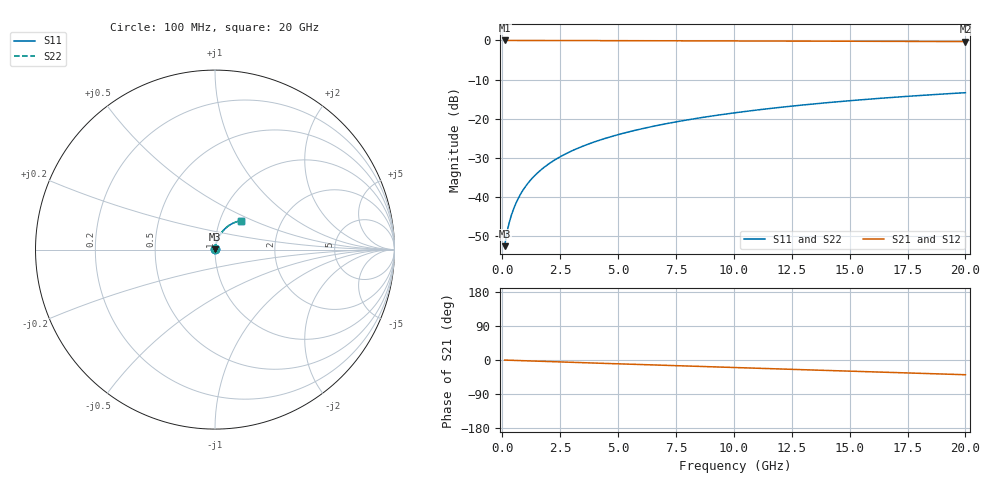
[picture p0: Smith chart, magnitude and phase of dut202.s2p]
! Touchstone file exported from HFSS 2026.1.0
!  File:  C:/ffzhzh/LocalFiles/Ansys_Project_Files/temp_train_TMRDL_202_1782983996_45328.aedt
!  Generated:  05:21:08 PM Jul  2, 2026
!  Design:  TMRDL
!  Project:  temp_train_TMRDL_202_1782983996_45328
! Variables:
!  h_bsmrdl = 2um
!  h_ox = 20um
!  h_rdl = 5um
!  h_sub = 80um
!  h_tmrdl = 5.84um
!  h_tsv = 80um
!  h_via = 3um
!  l_bsmrdl = 300um
!  l_sub = 1045.55um
!  l_tmrdl = 645.55um
!  m_sub = 200um
!  pitch = 41.22um
!  r_tsv = 6um
!  s_tmrdl = 10um
!  w_bsmrdl = 18um
!  w_sub = 500um
!  w_tmrdl = 25.95um
!  x_tsv_center1 = 658.525um
!  x_tsv_center2 = 976.525um
!  x_tsv_center3 = 1648.025um
!  x_tsv_center4 = 1966.025um
!  x_tsv_center5 = 2637.525um
!  x_tsv_center6 = 2955.525um
# GHz S MA R 50.000000
! Terminal data exported
! Port[1] = TM_RDL1_1_T1
! Port[2] = TM_RDL1_1_T2
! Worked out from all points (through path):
!   200 points, 100 MHz to 20 GHz, reference 50 ohm
!   highest |S21| = -0.02 dB at 100 MHz (marker M1); lowest = -0.3 dB at 20 GHz (marker M2)
!   group delay of S21, straight-line fit = 5.39 ps
!   lowest |S11| = -52.6 dB at 100 MHz (marker M3), VSWR 1.00, Z = 50.2 + j0.158 ohm
!   |S11| at or under -10 dB: start of sweep to end of sweep
!   |S22| runs from -52.6 to -13.4 dB; largest |S21 - S12| = 4.3e-15
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0.1  0.002358 42.1  0.9983 -0.2  0.9983 -0.2  0.002358 42.1
! Gamma 0 0 0 0
! Port Impedance 50 0 50 0
0.2  0.003536 56.3  0.9981 -0.4  0.9981 -0.4  0.003536 56.3
0.3  0.004728 63.6  0.9979 -0.6  0.9979 -0.6  0.004728 63.6
0.4  0.005946 68.1  0.9979 -0.8  0.9979 -0.8  0.005946 68.1
0.5  0.007192 71.2  0.9978 -1.0  0.9978 -1.0  0.007192 71.2
0.6  0.008457 73.4  0.9977 -1.2  0.9977 -1.2  0.008457 73.4
0.8  0.01102 76.0  0.9976 -1.7  0.9976 -1.7  0.01102 76.0
1.1  0.0149 77.9  0.9974 -2.3  0.9974 -2.3  0.0149 77.9
1.3  0.01748 78.5  0.9972 -2.7  0.9972 -2.7  0.01748 78.5
1.5  0.02005 78.8  0.997 -3.1  0.997 -3.1  0.02005 78.8
1.8  0.02388 78.9  0.9966 -3.7  0.9966 -3.7  0.02388 78.9
2.1  0.02767 78.8  0.9963 -4.3  0.9963 -4.3  0.02768 78.8
2.7  0.03514 78.2  0.9955 -5.5  0.9955 -5.5  0.03514 78.2
3.5  0.04486 77.1  0.9944 -7.1  0.9944 -7.1  0.04486 77.0
4.2  0.05319 76.0  0.9935 -8.5  0.9935 -8.5  0.05319 76.0
5  0.06257 74.7  0.9924 -10.1  0.9924 -10.1  0.06257 74.7
6.8  0.08321 71.8  0.9898 -13.6  0.9898 -13.6  0.08322 71.7
8.3  0.1 69.2  0.9875 -16.5  0.9875 -16.5  0.1 69.2
10.1  0.1196 66.1  0.9846 -20.0  0.9846 -20.0  0.1196 66.0
13.4  0.1539 60.2  0.9787 -26.4  0.9787 -26.4  0.1539 60.2
16.7  0.1858 54.3  0.9723 -32.7  0.9723 -32.7  0.1858 54.2
20  0.2149 48.3  0.9656 -38.9  0.9656 -38.9  0.2149 48.3
